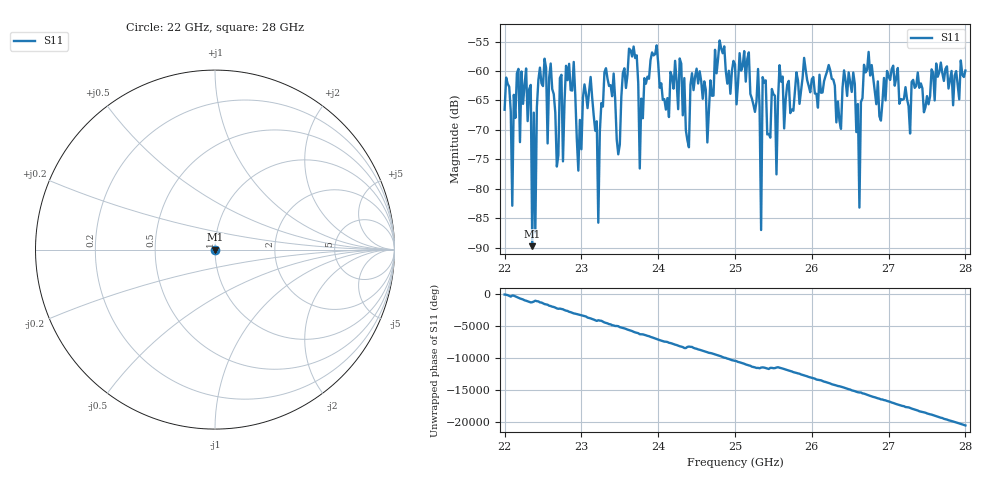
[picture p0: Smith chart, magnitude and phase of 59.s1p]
#  HZ  S  RI  R  50.00
! Rohde & Schwarz ZVA40 4Ports - Version 3.90 - 1145.1110k42 SN: 100403
! Date: 2023-10-04 06:34:39
! Measurement: S12
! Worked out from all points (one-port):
!   301 points, 22 GHz to 28 GHz, reference 50 ohm
!   lowest |S11| = -89.7 dB at 22.36 GHz (marker M1), VSWR 1.00, Z = 50 + j0.00255 ohm
!   |S11| at or under -10 dB: start of sweep to end of sweep
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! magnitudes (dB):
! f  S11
! 22 GHz  -66.6
! 22.1 GHz  -82.9
! 22.28 GHz  -59.6
! 22.36 GHz  -89.7
! 22.52 GHz  -57.9
! 22.76 GHz  -75.3
! 22.9 GHz  -58.5
! 22.96 GHz  -76.9
! 23.12 GHz  -61.0
! 23.22 GHz  -85.7
! 23.32 GHz  -59.5
! 23.5 GHz  -72.5
! 23.62 GHz  -56.2
! 23.76 GHz  -76.5
! 23.92 GHz  -56.9
! 24.26 GHz  -66.5
! 25 GHz  -58.9
! 25.3 GHz  -59.7
! 25.34 GHz  -87.0
! 25.36 GHz  -61.0
! 25.54 GHz  -77.5
! 25.58 GHz  -59.0
! 25.76 GHz  -66.7
! 26.5 GHz  -61.9
! 26.62 GHz  -83.2
! 26.74 GHz  -56.8
! 27.26 GHz  -66.0
! 28 GHz  -59.9
